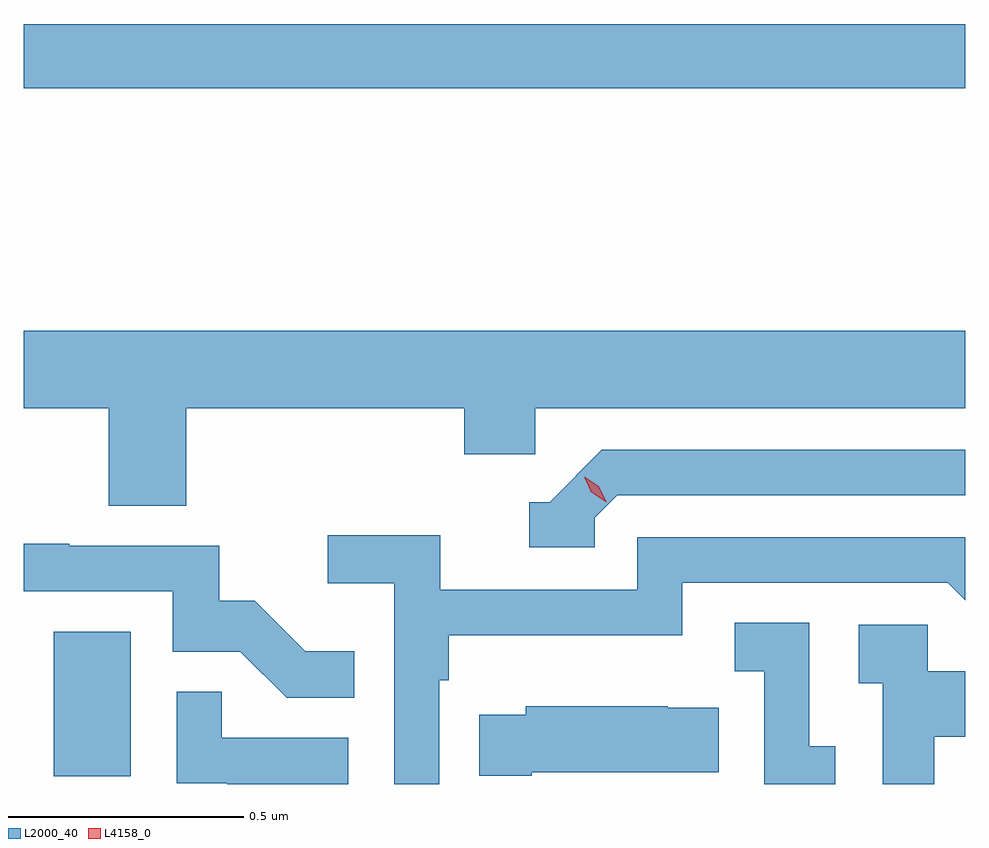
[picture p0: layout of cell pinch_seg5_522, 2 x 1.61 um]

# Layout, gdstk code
import gdstk
lib = gdstk.Library(unit=1e-6, precision=1e-09)
def R(c, l, rs):  # rectangles x0, y0, x1, y1
    for r in rs: c.add(gdstk.rectangle(r[:2], r[2:], *l))
def P(c, l, *ps):  # polygons
    for p in ps: c.add(gdstk.Polygon(p, *l))
L2000_40 = (2000, 40)
L4158_0 = (4158, 0)

pinch_seg5_522 = lib.new_cell('pinch_seg5_522')
R(pinch_seg5_522, L2000_40, [(913.016,835.998,913.18,836.305), (912.953,837.46,914.953,837.596)])
P(pinch_seg5_522, L2000_40, [(913.298,836.78),(913.889,836.78),(913.889,836.682),(914.04,836.682),(914.04,836.78),(914.953,836.78),(914.953,836.944),(912.953,836.944),(912.953,836.78),(913.133,836.78),(913.133,836.572),(913.298,836.572)],
  [(914.166,836.547),(914.214,836.595),(914.953,836.595),(914.953,836.691),(914.181,836.691),(914.07,836.58),(914.027,836.58),(914.027,836.484),(914.166,836.484)],
  [(913.836,836.201),(913.856,836.201),(913.856,836.297),(914.352,836.297),(914.352,836.409),(914.916,836.409),(914.953,836.372),(914.953,836.505),(914.256,836.505),(914.256,836.394),(913.838,836.394),(913.838,836.51),(913.599,836.51),(913.599,836.408),(913.74,836.408),(913.74,835.981),(913.836,835.981)],
  [(913.655,836.263),(913.551,836.263),(913.444,836.37),(913.368,836.37),(913.368,836.487),(913.049,836.487),(913.049,836.492),(912.953,836.492),(912.953,836.391),(913.269,836.391),(913.269,836.262),(913.413,836.262),(913.511,836.164),(913.655,836.164)],
  [(914.677,836.061),(914.622,836.061),(914.622,836.324),(914.463,836.324),(914.463,836.221),(914.526,836.221),(914.526,835.981),(914.677,835.981)],
  [(914.887,836.081),(914.953,836.081),(914.953,836.221),(914.874,836.221),(914.874,836.319),(914.727,836.319),(914.727,836.195),(914.778,836.195),(914.778,835.981),(914.887,835.981)],
  [(913.642,836.079),(913.373,836.079),(913.373,836.177),(913.278,836.177),(913.278,835.983),(913.385,835.983),(913.385,835.981),(913.642,835.981)],
  [(914.032,836.006),(914.429,836.006),(914.429,836.143),(914.321,836.143),(914.321,836.146),(914.019,836.146),(914.019,836.128),(913.921,836.128),(913.921,835.999),(914.032,835.999)])
P(pinch_seg5_522, L4158_0, [(914.189,836.581),(914.159,836.601),(914.144,836.634),(914.144,836.634),(914.144,836.634),(914.174,836.614),(914.19,836.581),(914.19,836.581)])

lib.write_gds('pinch_seg5_522.gds')
